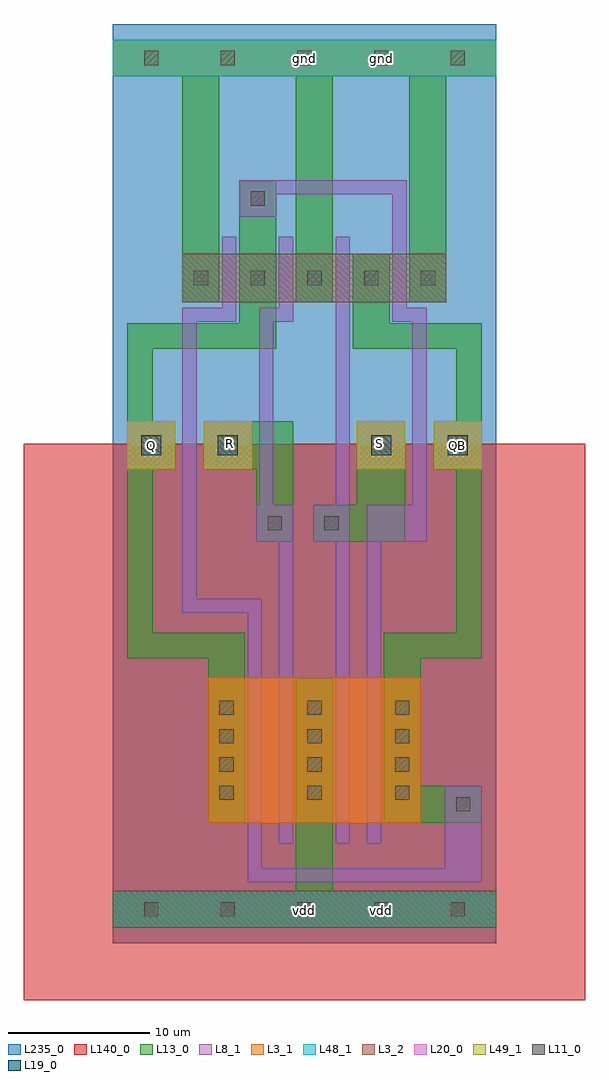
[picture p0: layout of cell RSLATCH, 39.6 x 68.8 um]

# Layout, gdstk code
import gdstk
lib = gdstk.Library(unit=1e-6, precision=1e-09)
def R(c, l, rs):  # rectangles x0, y0, x1, y1
    for r in rs: c.add(gdstk.rectangle(r[:2], r[2:], *l))
def A(c, l, x, y, w, h, nx, ny, dx, dy):  # array of equal rectangles
    R(c, l, [(x+i*dx, y+j*dy, x+i*dx+w, y+j*dy+h) for i in range(nx) for j in range(ny)])
def P(c, l, *ps):  # polygons
    for p in ps: c.add(gdstk.Polygon(p, *l))
L3_1 = (3, 1)
L3_2 = (3, 2)
L8_1 = (8, 1)
L11_0 = (11, 0)
L13_0 = (13, 0)
L19_0 = (19, 0)
L20_0 = (20, 0)
L48_1 = (48, 1)
L49_1 = (49, 1)
L140_0 = (140, 0)
L235_0 = (235, 0)

rslatch = lib.new_cell('RSLATCH')
R(rslatch, L3_1, [(6.7,-56.3,21.7,-46.1), (0,-3.7,27,-1.1)])
R(rslatch, L3_2, [(0,-63.7,27,-61.1), (4.9,-19.6,23.5,-16.2)])
P(rslatch, L8_1, [(11.7,-57.8),(11.7,-36.5),(10.1,-36.5),(10.1,-33.9),(10.3,-33.9),(10.3,-20),(11.7,-20),(11.7,-15),(12.7,-15),(12.7,-21),(11.3,-21),(11.3,-33.9),(12.7,-33.9),(12.7,-57.8)],
  [(15.7,-57.8),(15.7,-36.5),(14.1,-36.5),(14.1,-33.9),(15.7,-33.9),(15.7,-15),(16.7,-15),(16.7,-57.8)],
  [(17.9,-57.8),(17.9,-33.9),(21.1,-33.9),(21.1,-21),(19.7,-21),(19.7,-12),(11.5,-12),(11.5,-13.6),(8.9,-13.6),(8.9,-11),(20.7,-11),(20.7,-20),(22.1,-20),(22.1,-36.5),(18.9,-36.5),(18.9,-57.8)],
  [(9.5,-60.5),(9.5,-41.5),(4.9,-41.5),(4.9,-20),(7.7,-20),(7.7,-15),(8.7,-15),(8.7,-21),(5.9,-21),(5.9,-40.5),(10.5,-40.5),(10.5,-59.5),(23.4,-59.5),(23.4,-53.7),(26,-53.7),(26,-60.5)])
A(rslatch, L11_0, 7.5, -54.7, 1, 1, 1, 4, 0, 2)
A(rslatch, L11_0, 19.9, -54.7, 1, 1, 1, 4, 0, 2)
A(rslatch, L11_0, 5.7, -18.4, 1, 1, 3, 1, 4, 0)
A(rslatch, L11_0, 13.7, -18.4, 1, 1, 3, 1, 4, 0)
A(rslatch, L11_0, 7.6, -2.9, 1, 1, 4, 1, 5.4, 0)
R(rslatch, L11_0, [(2.2,-62.9,3.2,-61.9), (7.6,-62.9,8.6,-61.9), (7.6,-62.9,8.6,-61.9), (7.6,-62.9,8.6,-61.9), (7.6,-62.9,8.6,-61.9), (13,-62.9,14,-61.9), (13,-62.9,14,-61.9), (18.4,-62.9,19.4,-61.9), (18.4,-62.9,19.4,-61.9), (23.8,-62.9,24.8,-61.9), (23.8,-62.9,24.8,-61.9), (23.8,-62.9,24.8,-61.9), (23.8,-62.9,24.8,-61.9), (24.2,-55.5,25.2,-54.5), (13.7,-54.7,14.7,-53.7), (13.7,-54.7,14.7,-53.7), (13.7,-52.7,14.7,-51.7), (13.7,-52.7,14.7,-51.7), (13.7,-50.7,14.7,-49.7), (13.7,-50.7,14.7,-49.7), (13.7,-48.7,14.7,-47.7), (13.7,-48.7,14.7,-47.7), (10.9,-35.7,11.9,-34.7), (14.9,-35.7,15.9,-34.7), (9.7,-12.8,10.7,-11.8), (2.2,-2.9,3.2,-1.9), (7.6,-2.9,8.6,-1.9), (23.8,-2.9,24.8,-1.9)])
A(rslatch, L13_0, 4.9, -19.6, 2.6, 15.9, 3, 1, 8, 0)
R(rslatch, L13_0, [(0,-63.7,27,-61.1), (12.9,-61.1,15.5,-46.1), (0,-3.7,27,-1.1)])
P(rslatch, L13_0, [(10.1,-36.5),(10.1,-31.4),(6.4,-31.4),(6.4,-28),(12.7,-28),(12.7,-36.5)],
  [(14.1,-36.5),(14.1,-33.9),(17.2,-33.9),(17.2,-28),(20.6,-28),(20.6,-36.5)],
  [(6.7,-56.3),(6.7,-44.7),(1,-44.7),(1,-21.1),(8.9,-21.1),(8.9,-11),(11.5,-11),(11.5,-22.9),(2.8,-22.9),(2.8,-28),(4.4,-28),(4.4,-31.4),(2.8,-31.4),(2.8,-42.9),(9.3,-42.9),(9.3,-56.3)],
  [(19.1,-56.3),(19.1,-42.9),(24.2,-42.9),(24.2,-31.4),(22.6,-31.4),(22.6,-28),(24.2,-28),(24.2,-22.9),(16.9,-22.9),(16.9,-16.2),(19.5,-16.2),(19.5,-21.1),(26,-21.1),(26,-44.7),(21.7,-44.7),(21.7,-53.7),(26,-53.7),(26,-56.3)])
R(rslatch, L19_0, [(2,-30.4,3.4,-29), (7.4,-30.4,8.8,-29), (18.2,-30.4,19.6,-29), (23.6,-30.4,25,-29)])
R(rslatch, L20_0, [(1,-31.4,4.4,-28), (6.4,-31.4,9.8,-28), (17.2,-31.4,20.6,-28), (22.6,-31.4,26,-28)])
R(rslatch, L48_1, [(0,-63.7,27,-61.1), (0,-3.7,27,-1.1)])
R(rslatch, L49_1, [(1,-31.4,4.4,-28), (6.4,-31.4,9.8,-28), (17.2,-31.4,20.6,-28), (22.6,-31.4,26,-28)])
R(rslatch, L140_0, [(-6.3,-68.8,33.3,-29.6)])
R(rslatch, L235_0, [(0,-64.8,27,0)])
rslatch.add(gdstk.Label('gnd', (13.5,-2.4), layer=48, texttype=0))
rslatch.add(gdstk.Label('vdd', (13.5,-62.5), layer=48, texttype=0))
rslatch.add(gdstk.Label('gnd', (18.9,-2.4), layer=48, texttype=0))
rslatch.add(gdstk.Label('vdd', (18.9,-62.5), layer=48, texttype=0))
rslatch.add(gdstk.Label('QB', (24.3,-29.7), layer=49, texttype=0))
rslatch.add(gdstk.Label('R', (8.2,-29.6), layer=49, texttype=0))
rslatch.add(gdstk.Label('S', (18.8,-29.6), layer=49, texttype=0))
rslatch.add(gdstk.Label('Q', (2.7,-29.7), layer=49, texttype=0))

lib.write_gds('RSLATCH.gds')
